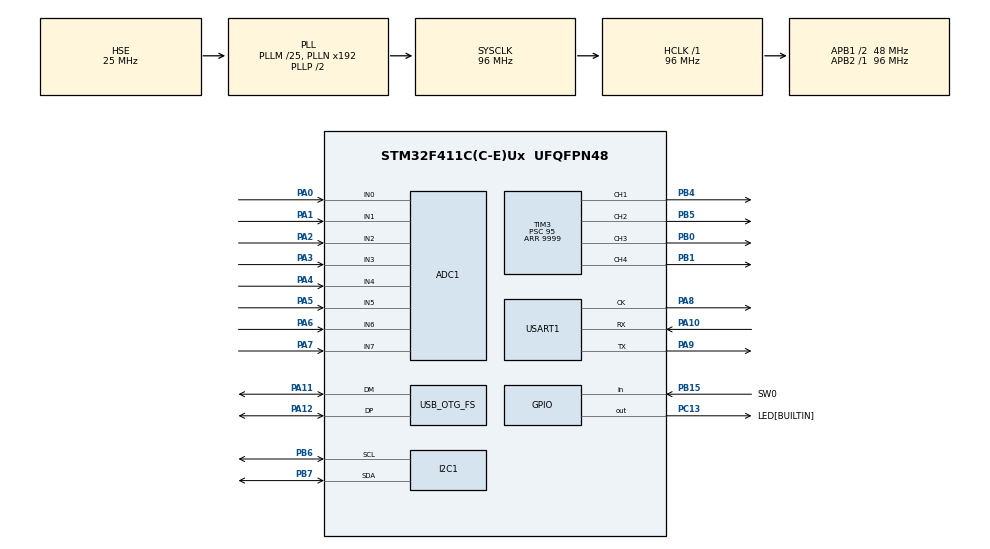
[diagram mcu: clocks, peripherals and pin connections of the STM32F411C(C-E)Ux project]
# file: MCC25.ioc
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ADC1.Channel-0\#ChannelRegularConversion=ADC_CHANNEL_0
ADC1.Channel-1\#ChannelRegularConversion=ADC_CHANNEL_1
ADC1.Channel-2\#ChannelRegularConversion=ADC_CHANNEL_2
ADC1.Channel-3\#ChannelRegularConversion=ADC_CHANNEL_3
ADC1.Channel-4\#ChannelRegularConversion=ADC_CHANNEL_4
ADC1.Channel-5\#ChannelRegularConversion=ADC_CHANNEL_5
ADC1.Channel-6\#ChannelRegularConversion=ADC_CHANNEL_6
ADC1.Channel-7\#ChannelRegularConversion=ADC_CHANNEL_7
ADC1.DMAContinuousRequests=ENABLE
ADC1.NbrOfConversion=8
ADC1.NbrOfConversionFlag=1
ADC1.Rank-0\#ChannelRegularConversion=1
ADC1.Rank-1\#ChannelRegularConversion=2
ADC1.Rank-2\#ChannelRegularConversion=3
ADC1.Rank-3\#ChannelRegularConversion=4
ADC1.Rank-4\#ChannelRegularConversion=5
ADC1.Rank-5\#ChannelRegularConversion=6
ADC1.Rank-6\#ChannelRegularConversion=7
ADC1.Rank-7\#ChannelRegularConversion=8
ADC1.SamplingTime-0\#ChannelRegularConversion=ADC_SAMPLETIME_3CYCLES
ADC1.SamplingTime-1\#ChannelRegularConversion=ADC_SAMPLETIME_3CYCLES
ADC1.SamplingTime-2\#ChannelRegularConversion=ADC_SAMPLETIME_3CYCLES
ADC1.SamplingTime-3\#ChannelRegularConversion=ADC_SAMPLETIME_3CYCLES
ADC1.SamplingTime-4\#ChannelRegularConversion=ADC_SAMPLETIME_3CYCLES
ADC1.SamplingTime-5\#ChannelRegularConversion=ADC_SAMPLETIME_3CYCLES
ADC1.SamplingTime-6\#ChannelRegularConversion=ADC_SAMPLETIME_3CYCLES
ADC1.SamplingTime-7\#ChannelRegularConversion=ADC_SAMPLETIME_3CYCLES
ADC1.ScanConvMode=ENABLE
ADC1.master=1
Dma.ADC1.0.Direction=DMA_PERIPH_TO_MEMORY
Dma.ADC1.0.FIFOMode=DMA_FIFOMODE_DISABLE
Dma.ADC1.0.Instance=DMA2_Stream0
Dma.ADC1.0.MemDataAlignment=DMA_MDATAALIGN_HALFWORD
Dma.ADC1.0.MemInc=DMA_MINC_ENABLE
Dma.ADC1.0.Mode=DMA_NORMAL
Dma.ADC1.0.PeriphDataAlignment=DMA_PDATAALIGN_HALFWORD
Dma.ADC1.0.PeriphInc=DMA_PINC_DISABLE
Dma.ADC1.0.Priority=DMA_PRIORITY_LOW
Dma.I2C1_RX.1.Direction=DMA_PERIPH_TO_MEMORY
Dma.I2C1_RX.1.FIFOMode=DMA_FIFOMODE_DISABLE
Dma.I2C1_RX.1.Instance=DMA1_Stream0
Dma.I2C1_RX.1.MemDataAlignment=DMA_MDATAALIGN_BYTE
Dma.I2C1_RX.1.MemInc=DMA_MINC_ENABLE
Dma.I2C1_RX.1.Mode=DMA_NORMAL
Dma.I2C1_RX.1.PeriphDataAlignment=DMA_PDATAALIGN_BYTE
Dma.I2C1_RX.1.PeriphInc=DMA_PINC_DISABLE
Dma.I2C1_RX.1.Priority=DMA_PRIORITY_LOW
Dma.I2C1_TX.2.Direction=DMA_MEMORY_TO_PERIPH
Dma.I2C1_TX.2.FIFOMode=DMA_FIFOMODE_DISABLE
Dma.I2C1_TX.2.Instance=DMA1_Stream6
Dma.I2C1_TX.2.MemDataAlignment=DMA_MDATAALIGN_BYTE
Dma.I2C1_TX.2.MemInc=DMA_MINC_ENABLE
Dma.I2C1_TX.2.Mode=DMA_NORMAL
Dma.I2C1_TX.2.PeriphDataAlignment=DMA_PDATAALIGN_BYTE
Dma.I2C1_TX.2.PeriphInc=DMA_PINC_DISABLE
Dma.I2C1_TX.2.Priority=DMA_PRIORITY_LOW
Dma.Request0=ADC1
Dma.Request1=I2C1_RX
Dma.Request2=I2C1_TX
I2C1.I2C_Mode=I2C_Fast
Mcu.Family=STM32F4
Mcu.Name=STM32F411C(C-E)Ux
Mcu.Package=UFQFPN48
NVIC.ADC_IRQn=true\:0\:0\:false\:false\:true\:true\:true\:true
NVIC.DMA1_Stream0_IRQn=true\:0\:0\:false\:false\:true\:false\:true\:true
NVIC.DMA1_Stream6_IRQn=true\:0\:0\:false\:false\:true\:false\:true\:true
NVIC.DMA2_Stream0_IRQn=true\:0\:0\:false\:false\:true\:false\:true\:true
NVIC.I2C1_ER_IRQn=true\:0\:0\:false\:false\:true\:true\:true\:true
NVIC.I2C1_EV_IRQn=true\:0\:0\:false\:false\:true\:true\:true\:true
NVIC.OTG_FS_IRQn=true\:0\:0\:false\:false\:true\:false\:true\:true
NVIC.PriorityGroup=NVIC_PRIORITYGROUP_4
NVIC.TIM1_BRK_TIM9_IRQn=true\:0\:0\:false\:false\:true\:true\:true\:true
NVIC.TIM1_CC_IRQn=true\:0\:0\:false\:false\:true\:true\:true\:true
NVIC.TIM1_TRG_COM_TIM11_IRQn=true\:0\:0\:false\:false\:true\:true\:true\:true
NVIC.TIM1_UP_TIM10_IRQn=true\:0\:0\:false\:false\:true\:true\:true\:true
NVIC.TIM2_IRQn=true\:0\:0\:false\:false\:true\:true\:true\:true
NVIC.TIM3_IRQn=true\:0\:0\:false\:false\:true\:true\:true\:true
NVIC.TIM4_IRQn=true\:0\:0\:false\:false\:true\:true\:true\:true
NVIC.USART1_IRQn=true\:0\:0\:false\:false\:true\:true\:true\:true
PA0-WKUP.Signal=ADCx_IN0
PA1.Signal=ADCx_IN1
PA10.Mode=Synchronous
PA10.Signal=USART1_RX
PA11.Mode=Device_Only
PA11.Signal=USB_OTG_FS_DM
PA12.Mode=Device_Only
PA12.Signal=USB_OTG_FS_DP
PA2.Signal=ADCx_IN2
PA3.Signal=ADCx_IN3
PA4.Signal=ADCx_IN4
PA5.Signal=ADCx_IN5
PA6.Signal=ADCx_IN6
PA7.Signal=ADCx_IN7
PA8.Mode=Synchronous
PA8.Signal=USART1_CK
PA9.Mode=Synchronous
PA9.Signal=USART1_TX
PB0.Signal=S_TIM3_CH3
PB1.Signal=S_TIM3_CH4
PB15.GPIO_Label=SW0
PB15.Signal=GPIO_Input
PB4.Signal=S_TIM3_CH1
PB5.Signal=S_TIM3_CH2
PB6.Mode=I2C
PB6.Signal=I2C1_SCL
PB7.Mode=I2C
PB7.Signal=I2C1_SDA
PC13-ANTI_TAMP.GPIO_Label=LED[BUILTIN]
PC13-ANTI_TAMP.Signal=GPIO_Output
PC14-OSC32_IN.Mode=LSE-External-Oscillator
PC14-OSC32_IN.Signal=RCC_OSC32_IN
PC15-OSC32_OUT.Mode=LSE-External-Oscillator
PC15-OSC32_OUT.Signal=RCC_OSC32_OUT
PH0\ -\ OSC_IN.Mode=HSE-External-Oscillator
PH0\ -\ OSC_IN.Signal=RCC_OSC_IN
PH1\ -\ OSC_OUT.Mode=HSE-External-Oscillator
PH1\ -\ OSC_OUT.Signal=RCC_OSC_OUT
ProjectManager.HeapSize=0x200
ProjectManager.StackSize=0x400
ProjectManager.TargetToolchain=STM32CubeIDE
RCC.48MHZClocksFreq_Value=48000000
RCC.AHBFreq_Value=96000000
RCC.APB1CLKDivider=RCC_HCLK_DIV2
RCC.APB1Freq_Value=48000000
RCC.APB1TimFreq_Value=96000000
RCC.APB2Freq_Value=96000000
RCC.APB2TimFreq_Value=96000000
RCC.CortexFreq_Value=96000000
RCC.HCLKFreq_Value=96000000
RCC.HSE_VALUE=25000000
RCC.HSI_VALUE=16000000
RCC.PLLM=25
RCC.SYSCLKFreq_VALUE=96000000
RCC.SYSCLKSource=RCC_SYSCLKSOURCE_PLLCLK
RCC.VCOOutputFreq_Value=192000000
SH.ADCx_IN0.0=ADC1_IN0,IN0
SH.ADCx_IN1.0=ADC1_IN1,IN1
SH.ADCx_IN2.0=ADC1_IN2,IN2
SH.ADCx_IN3.0=ADC1_IN3,IN3
SH.ADCx_IN4.0=ADC1_IN4,IN4
SH.ADCx_IN5.0=ADC1_IN5,IN5
SH.ADCx_IN6.0=ADC1_IN6,IN6
SH.ADCx_IN7.0=ADC1_IN7,IN7
SH.S_TIM3_CH1.0=TIM3_CH1,PWM Generation1 CH1
SH.S_TIM3_CH2.0=TIM3_CH2,PWM Generation2 CH2
SH.S_TIM3_CH3.0=TIM3_CH3,PWM Generation3 CH3
SH.S_TIM3_CH4.0=TIM3_CH4,PWM Generation4 CH4
TIM1.Period=249
TIM1.Prescaler=95
TIM2.Period=19999
TIM2.Prescaler=95
TIM3.Channel-PWM\ Generation1\ CH1=TIM_CHANNEL_1
TIM3.Channel-PWM\ Generation2\ CH2=TIM_CHANNEL_2
TIM3.Channel-PWM\ Generation3\ CH3=TIM_CHANNEL_3
TIM3.Channel-PWM\ Generation4\ CH4=TIM_CHANNEL_4
TIM3.Period=9999
TIM3.Prescaler=95
TIM4.Period=49999
TIM4.Prescaler=191
USART1.VirtualMode=VM_SYNC
USB_DEVICE.APP_RX_DATA_SIZE=512
USB_DEVICE.APP_TX_DATA_SIZE=512
USB_DEVICE.CLASS_NAME_FS=CDC
USB_DEVICE.VirtualMode=Cdc
USB_DEVICE.VirtualModeFS=Cdc_FS
USB_OTG_FS.VirtualMode=Device_Only
VP_TIM1_VS_ClockSourceINT.Mode=Internal
VP_TIM1_VS_ClockSourceITR.Mode=TriggerSource_ITR0
VP_TIM2_VS_ClockSourceINT.Mode=Internal
VP_TIM2_VS_ClockSourceITR.Mode=TriggerSource_ITR0
VP_TIM3_VS_ClockSourceINT.Mode=Internal
VP_TIM3_VS_ClockSourceITR.Mode=TriggerSource_ITR0
VP_TIM4_VS_ClockSourceINT.Mode=Internal
VP_USB_DEVICE_VS_USB_DEVICE_CDC_FS.Mode=CDC_FS
board=custom

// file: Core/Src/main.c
/* USER CODE BEGIN Header */
/**
  ******************************************************************************
  * @file           : main.c
  * @author  		: Gonzalo M. Buffa
  * @brief          : Main program body
  ******************************************************************************
  * @attention
  *
  * Copyright (c) 2025 STMicroelectronics.
  * All rights reserved.
  *
  * This software is licensed under terms that can be found in the LICENSE file
  * in the root directory of this software component.
  * If no LICENSE file comes with this software, it is provided AS-IS.
  *
  ******************************************************************************
  */
/* USER CODE END Header */
#include "main.h"
#include "usb_device.h"

/* USER CODE BEGIN Includes */
#include "usbd_cdc_if.h"

#include "util.h"
#include "img.h"
#include "fonts.h"

#include "ssd1306.h"
#include "mpu6050.h"
#include "esp01.h"

#include <stdio.h>
#include <unerPrtcl.h>
/* USER CODE END Includes */

/* USER CODE BEGIN PD */
//time
#define	TO10MS				40
#define SSD1306_MAXVER		64
#define	SSD1306_MAXHOR		128
#define	SSD1306_MAXADC		30
#define	SSD1306_MINADC		60
#define SSD1306_FSTCOL		0
#define	SSD1306_SNDCOL		40
#define	SSD1306_TRDCOL		85

#define SSD1306				0
#define MPU6050				1
#define I2CSIZE				16

#define ON					1
#define OFF					0

#define TIM3CP				9999

//banderas
#define ALLFLAGS          	myFlags.bytes
#define IS10MS				myFlags.bits.bit0
#define IS20MS				myFlags.bits.bit1
#define IS100MS				myFlags.bits.bit2

#define HEARTBEAT			myFlags.bits.bit3

/* USER CODE END PD */

ADC_HandleTypeDef hadc1;
DMA_HandleTypeDef hdma_adc1;

I2C_HandleTypeDef hi2c1;
DMA_HandleTypeDef hdma_i2c1_rx;
DMA_HandleTypeDef hdma_i2c1_tx;

TIM_HandleTypeDef htim1;
TIM_HandleTypeDef htim2;
TIM_HandleTypeDef htim3;
TIM_HandleTypeDef htim4;

USART_HandleTypeDef husart1;

/* USER CODE BEGIN PV */
uint32_t heartBeatMask[] = {0x55555555, 0x1, 0x2010080, 0x5F, 0x5, 0x28140A00, 0x15F, 0x15, 0x2A150A08, 0x55F};

const char firmware[] = "EX100923v01\n";

//Tiempos
uint8_t time10ms;
uint8_t tmo100ms = 10;
uint8_t tmo20ms = 2;
//ADC
uint16_t adcData[8], adcDataTx[8]; //ADC

//Comunicación
_sTx USBTx, USBRx;
volatile uint8_t buffUSBTx[RXBUFSIZE];
volatile uint8_t buffUSBRx[TXBUFSIZE];
uint8_t nBytesTx = 0;
_uWord myWord;
//Control
_uFlag myFlags;
//Variables pantalla
volatile uint8_t ssd1306_TxCplt = 0;
volatile uint8_t mpu6050_RxCplt = 0;
//mpu6050
int16_t ax=0, ay=0, az=0;
int16_t gx=0, gy=0, gz=0;

//i2c
uint8_t Pila[I2CSIZE] = {};
uint8_t i2cIndex = 0;

typedef enum{
	IDLE = 0,
	DATA_DISPLAY = 1,
	UPD_DISPLAY = 2,
	ONMPU = 3
}_eDMA;

_eDMA myDMA;

uint8_t tmo100 = 5;
uint8_t IS100 = 0;

uint32_t rPwm, lPwm;

//Wifi
_sESP01Handle esp01Handler;

/* USER CODE END PV */

void SystemClock_Config(void);
static void MX_GPIO_Init(void);
static void MX_DMA_Init(void);
static void MX_ADC1_Init(void);
static void MX_I2C1_Init(void);
static void MX_TIM1_Init(void);
static void MX_TIM2_Init(void);
static void MX_TIM3_Init(void);
static void MX_TIM4_Init(void);
static void MX_USART1_Init(void);
/* USER CODE BEGIN PFP */

//USB-Serial Communication
void USBTask();
void USBRxData(uint8_t *buf, uint32_t len);
void decodeCommand(_sTx *dataRx, _sTx *dataTx);
//Time functions
void do10ms();
void do100ms();

//Others
void heartBeatTask();

//Display
//void displayTask();
void ssd1306Data();
void displayMemWrite(uint8_t address, uint8_t *data, uint8_t size, uint8_t type);
void displayMemWriteDMA(uint8_t address, uint8_t *data, uint8_t size, uint8_t type);
//MPU6050
void mpuMemWrite(uint8_t address, uint8_t *data, uint8_t size, uint8_t type);
void mpuMemReadDMA(uint8_t address, uint8_t *data, uint8_t size, uint8_t type);
//i2C
void i2cTask();

/* USER CODE END PFP */

/* USER CODE BEGIN 0 */

void HAL_ADC_ConvCpltCallback(ADC_HandleTypeDef *hadc) {
	//Revisar tiempos de ejecución de esta sección con respecto a la mpu
	for (int i = 0; i < 8; i++) {
		adcDataTx[i] = adcData[i];
	}
}

void HAL_I2C_MemTxCpltCallback(I2C_HandleTypeDef *hi2c){ //Pantalla
	ssd1306_TxCplt = 1;
}

void HAL_I2C_MemRxCpltCallback(I2C_HandleTypeDef *hi2c){ //MPU
	mpu6050_RxCplt = 1;
}

void HAL_TIM_PeriodElapsedCallback(TIM_HandleTypeDef *htim) {
	if (htim->Instance == TIM1) { //250us
		time10ms++;
		if (time10ms == TO10MS) {
			time10ms = 0;
			IS10MS = TRUE;
		}
		HAL_ADC_Start_DMA(&hadc1, (uint32_t*) adcData, 8);
	}

	if (htim->Instance == TIM2) { //20ms
		Pila[i2cIndex] = MPU6050;
		i2cIndex++;
		i2cIndex&=(I2CSIZE-1);
		tmo100--;
		if(!tmo100){
			tmo100=5;
			Pila[i2cIndex] = SSD1306;
			i2cIndex++;
			i2cIndex&=(I2CSIZE-1);
		}
	}

	if (htim->Instance == TIM4) { //100ms

	}
}

void USBRxData(uint8_t *buf, uint32_t len) { //Recibimos datos -> Enviamos datos

	for (uint8_t nBytesRx = 0; nBytesRx < len; nBytesRx++) { //Guardamos los datos en el buffer de recepcion
		USBRx.buff[USBRx.indexW++] = buf[nBytesRx];
		USBRx.indexW &= USBRx.mask;
	}

}

void USBTask() {

	if(USBRx.indexR != USBRx.indexW){
		uint8_t sendBuffer[TXBUFSIZE];

		if (unerPrtcl_DecodeHeader(&USBRx))
			decodeCommand(&USBRx, &USBTx);

		for (uint8_t i = 0; i < USBTx.bytes; i++) { //Paso limpio, error ultima posición
			sendBuffer[i] = USBTx.buff[USBTx.indexData++];
			USBTx.indexData &= USBTx.mask;
		}

		CDC_Transmit_FS(sendBuffer, USBTx.bytes);
	}

}

void decodeCommand(_sTx *dataRx, _sTx *dataTx) {

	switch (dataRx->buff[dataRx->indexData]) {
	case ALIVE:
		unerPrtcl_PutHeaderOnTx(dataTx, ALIVE, 2);
		unerPrtcl_PutByteOnTx(dataTx, ACK);
		unerPrtcl_PutByteOnTx(dataTx, dataTx->chk);
		break;
	case FIRMWARE:
		unerPrtcl_PutHeaderOnTx(dataTx, FIRMWARE, 13);
		unerPrtcl_PutStrOntx(dataTx, firmware);
		unerPrtcl_PutByteOnTx(dataTx, dataTx->chk);
		break;
	case GETMPU:
		unerPrtcl_PutHeaderOnTx(dataTx, GETMPU, 13);
		myWord.i16[0] = ax;
		unerPrtcl_PutByteOnTx(dataTx, myWord.ui8[0]);
		unerPrtcl_PutByteOnTx(dataTx, myWord.ui8[1]);
		myWord.i16[0] = ay;
		unerPrtcl_PutByteOnTx(dataTx, myWord.ui8[0]);
		unerPrtcl_PutByteOnTx(dataTx, myWord.ui8[1]);
		myWord.i16[0] = az;
		unerPrtcl_PutByteOnTx(dataTx, myWord.ui8[0]);
		unerPrtcl_PutByteOnTx(dataTx, myWord.ui8[1]);
		myWord.i16[0] = gx;
		unerPrtcl_PutByteOnTx(dataTx, myWord.ui8[0]);
		unerPrtcl_PutByteOnTx(dataTx, myWord.ui8[1]);
		myWord.i16[0] = gy;
		unerPrtcl_PutByteOnTx(dataTx, myWord.ui8[0]);
		unerPrtcl_PutByteOnTx(dataTx, myWord.ui8[1]);
		myWord.i16[0] = gz;
		unerPrtcl_PutByteOnTx(dataTx, myWord.ui8[0]);
		unerPrtcl_PutByteOnTx(dataTx, myWord.ui8[1]);
		unerPrtcl_PutByteOnTx(dataTx, dataTx->chk);
		break;
	case GETADC:
		unerPrtcl_PutHeaderOnTx(dataTx, GETADC, 17);
		myWord.ui16[0] = adcDataTx[0];
		unerPrtcl_PutByteOnTx(dataTx, myWord.ui8[0]);
		unerPrtcl_PutByteOnTx(dataTx, myWord.ui8[1]);
		myWord.ui16[0] = adcDataTx[1];
		unerPrtcl_PutByteOnTx(dataTx, myWord.ui8[0]);
		unerPrtcl_PutByteOnTx(dataTx, myWord.ui8[1]);
		myWord.ui16[0] = adcDataTx[2];
		unerPrtcl_PutByteOnTx(dataTx, myWord.ui8[0]);
		unerPrtcl_PutByteOnTx(dataTx, myWord.ui8[1]);
		myWord.ui16[0] = adcDataTx[3];
		unerPrtcl_PutByteOnTx(dataTx, myWord.ui8[0]);
		unerPrtcl_PutByteOnTx(dataTx, myWord.ui8[1]);
		myWord.ui16[0] = adcDataTx[4];
		unerPrtcl_PutByteOnTx(dataTx, myWord.ui8[0]);
		unerPrtcl_PutByteOnTx(dataTx, myWord.ui8[1]);
		myWord.ui16[0] = adcDataTx[5];
		unerPrtcl_PutByteOnTx(dataTx, myWord.ui8[0]);
		unerPrtcl_PutByteOnTx(dataTx, myWord.ui8[1]);
		myWord.ui16[0] = adcDataTx[6];
		unerPrtcl_PutByteOnTx(dataTx, myWord.ui8[0]);
		unerPrtcl_PutByteOnTx(dataTx, myWord.ui8[1]);
		myWord.ui16[0] = adcDataTx[7];
		unerPrtcl_PutByteOnTx(dataTx, myWord.ui8[0]);
		unerPrtcl_PutByteOnTx(dataTx, myWord.ui8[1]);
		unerPrtcl_PutByteOnTx(dataTx, dataTx->chk);
		break;
	case SETPWM:
        unerPrtcl_PutHeaderOnTx(dataTx, SETPWM, 2);
        unerPrtcl_PutByteOnTx(dataTx, ACK );
        unerPrtcl_PutByteOnTx(dataTx, dataTx->chk);
        myWord.ui8[0]=unerPrtcl_GetByteFromRx(dataRx,1,0);
        myWord.ui8[1]=unerPrtcl_GetByteFromRx(dataRx,1,0);
        myWord.ui8[2]=unerPrtcl_GetByteFromRx(dataRx,1,0);
        myWord.ui8[3]=unerPrtcl_GetByteFromRx(dataRx,1,0);
        lPwm = myWord.i32;
        myWord.ui8[0]=unerPrtcl_GetByteFromRx(dataRx,1,0);
        myWord.ui8[1]=unerPrtcl_GetByteFromRx(dataRx,1,0);
        myWord.ui8[2]=unerPrtcl_GetByteFromRx(dataRx,1,0);
        myWord.ui8[3]=unerPrtcl_GetByteFromRx(dataRx,1,0);
        rPwm = myWord.i32;
		break;
	default:
		unerPrtcl_PutHeaderOnTx(dataTx, (_eCmd) dataRx->buff[dataRx->indexData], 2);
		unerPrtcl_PutByteOnTx(dataTx, UNKNOWN);
		unerPrtcl_PutByteOnTx(dataTx, dataTx->chk);
		break;
	}
}

void do10ms() {
	if (IS10MS) {
		IS10MS = FALSE;
		tmo100ms--;
		tmo20ms--;
		ESP01_Timeout10ms();
		if (!tmo20ms) {
			tmo20ms = 2;
			IS20MS = TRUE;
		}
		if (!tmo100ms) {
			tmo100ms = 10;
			IS100MS = TRUE;
			heartBeatTask();
		}
	}
}

void do100ms(){
	if(IS100MS){
		IS100MS=FALSE;
	}
}

void heartBeatTask() {
	static uint8_t times = 0;

	if (~heartBeatMask[0] & (1 << times)) //Add index
		HAL_GPIO_TogglePin(LED_GPIO_Port, LED_Pin); // Blink LED

	times++;
	times &= 31;
}

void displayMemWrite(uint8_t address, uint8_t *data, uint8_t size, uint8_t type){
	HAL_I2C_Mem_Write(&hi2c1, address , type, 1, data, size, HAL_MAX_DELAY);
}

void displayMemWriteDMA(uint8_t address, uint8_t *data, uint8_t size, uint8_t type){
	HAL_I2C_Mem_Write_DMA(&hi2c1, address , type, 1, data, size);
}

void mpuMemWrite(uint8_t address, uint8_t *data, uint8_t size, uint8_t type){
	HAL_I2C_Mem_Write(&hi2c1, address , type, 1, data, size, HAL_MAX_DELAY);
}

void mpuMemReadDMA(uint8_t address, uint8_t *data, uint8_t size, uint8_t type){
	HAL_I2C_Mem_Read_DMA(&hi2c1, address , type, 1, data, size);
}

void ssd1306Data() {
	char data[8];
	uint8_t y = 0, x = 2;

	ssd1306_Fill(White);

	ssd1306_FillRectangle(30, 0, 32, 64, Black);

	ssd1306_FillRectangle(0, 20, 128, 22, Black);

	ssd1306_FillRectangle(80, 0, 82, 64, Black);

	x = SSD1306_SNDCOL;
	y = 0;
	ssd1306_SetCursor(x, y);
	snprintf(data, sizeof(data), "ACC");
	ssd1306_WriteString(data, Font_11x18, Black);
	x = SSD1306_TRDCOL;
	ssd1306_SetCursor(x, y);
	snprintf(data, sizeof(data), "GYR");
	ssd1306_WriteString(data, Font_11x18, Black);

	x = SSD1306_SNDCOL;
	y += 25;
	ssd1306_SetCursor(x, y);
	snprintf(data, sizeof(data), "%d", ax);
	ssd1306_WriteString(data, Font_7x10, Black);
	x = SSD1306_TRDCOL;
	ssd1306_SetCursor(x, y);
	snprintf(data, sizeof(data), "%d", gx);
	ssd1306_WriteString(data, Font_7x10, Black);

	x = SSD1306_SNDCOL;
	y += 12;
	ssd1306_SetCursor(x, y);
	snprintf(data, sizeof(data), "%d", ay);
	ssd1306_WriteString(data, Font_7x10, Black);
	x = SSD1306_TRDCOL;
	ssd1306_SetCursor(x, y);
	snprintf(data, sizeof(data), "%d", gy);
	ssd1306_WriteString(data, Font_7x10, Black);

	x = SSD1306_SNDCOL;
	y += 12;
	ssd1306_SetCursor(x, y);
	snprintf(data, sizeof(data), "%d", az);
	ssd1306_WriteString(data, Font_7x10, Black);
	x = SSD1306_TRDCOL;
	ssd1306_SetCursor(x, y);
	snprintf(data, sizeof(data), "%d", gz);
	ssd1306_WriteString(data, Font_7x10, Black);

	ssd1306_Line(3, 60, 3,
			(SSD1306_MINADC - (adcDataTx[0] / 4090) * SSD1306_MAXADC), Black);
	ssd1306_Line(6, 60, 6,
			(SSD1306_MINADC - (adcDataTx[1] / 4090) * SSD1306_MAXADC), Black);
	ssd1306_Line(9, 60, 9,
			(SSD1306_MINADC - (adcDataTx[2] / 4090) * SSD1306_MAXADC), Black);
	ssd1306_Line(12, 60, 12,
			(SSD1306_MINADC - (adcDataTx[3] / 4090) * SSD1306_MAXADC), Black);
	ssd1306_Line(15, 60, 15,
			(SSD1306_MINADC - (adcDataTx[4] / 4090) * SSD1306_MAXADC), Black);
	ssd1306_Line(18, 60, 18,
			(SSD1306_MINADC - (adcDataTx[5] / 4090) * SSD1306_MAXADC), Black);
	ssd1306_Line(21, 60, 21,
			(SSD1306_MINADC - (adcDataTx[6] / 4090) * SSD1306_MAXADC), Black);
	ssd1306_Line(24, 60, 24,
			(SSD1306_MINADC - (adcDataTx[7] / 4090) * SSD1306_MAXADC), Black);
}

void i2cTask() {
	static uint8_t i = IDLE;
	static uint8_t j = 0;

	switch (i) {
	case IDLE:
		if (j == i2cIndex) { //Sale por que no hay nuevos elementos
			break;
		}

		if (Pila[j]) { //mpu6050
			i = ONMPU;
			j++;
			j &= (I2CSIZE - 1);
			break;
		}
		if (!Pila[j]) {
			i = DATA_DISPLAY;
			j++;
			j &= (I2CSIZE - 1);
		}
		break;
	case DATA_DISPLAY:
		ssd1306Data();
		i = UPD_DISPLAY;
		break;
	case UPD_DISPLAY:
		if (HAL_I2C_GetState(&hi2c1) == HAL_I2C_STATE_READY) {
			if (ssd1306_UpdateScreenDMA()) {

				ssd1306_TxCplt = FALSE;
				i = IDLE;
			}
		}
		break;
	case ONMPU:
		if (HAL_I2C_GetState(&hi2c1) == HAL_I2C_STATE_READY) {
			if (mpu6050_Read()) {

				mpu6050_GetData(&ax, &ay, &az, &gx, &gy, &gz);
				mpu6050_RxCplt = FALSE;
				i = IDLE;
			}
		}
		break;
	default:
		i = IDLE;
		break;
	}
}

void PWM_Control(){

	  // Calcula CCRx = period * percent / 100
	  uint32_t lPulse = TIM3CP * lPwm / 100UL;
	  uint32_t rPulse = TIM3CP * rPwm / 100UL;

	__HAL_TIM_SET_COMPARE(&htim3,TIM_CHANNEL_1,lPulse);
	__HAL_TIM_SET_COMPARE(&htim3,TIM_CHANNEL_2,lPulse);

	__HAL_TIM_SET_COMPARE(&htim3,TIM_CHANNEL_3,rPulse);
	__HAL_TIM_SET_COMPARE(&htim3,TIM_CHANNEL_4,rPulse);

}

void CHPD_Control(uint8_t state)
{
    /* Assuming CH_PD is on GPIOB Pin 0 */
    HAL_GPIO_WritePin(GPIOB, GPIO_PIN_0, state ? GPIO_PIN_SET : GPIO_PIN_RESET);
}

/**
 * @brief  Send one byte out over UART to ESP-01.
 * @param  byte  The data byte to transmit.
 */
void USART_SendByte(uint8_t byte)
{
    /* Assuming huart2 is configured for the ESP01 */
    HAL_USART_Transmit(&husart1, &byte, 1, HAL_MAX_DELAY);
}

/**
 * @brief  Forward one received byte into the ESP01 driver’s rx buffer.
 * @param  byte  The byte received from UART ISR.
 */
void FeedRxBuf(uint8_t byte)
{
    ESP01_WriteRX(byte);
}

/* USER CODE END 0 */

int main(void)
{

  /* MCU Configuration--------------------------------------------------------*/

  /* Reset of all peripherals, Initializes the Flash interface and the Systick. */
  HAL_Init();

  /* Configure the system clock */
  SystemClock_Config();

  /* Initialize all configured peripherals */
  MX_GPIO_Init();
  MX_DMA_Init();
  MX_ADC1_Init();
  MX_I2C1_Init();
  MX_TIM1_Init();
  MX_USB_DEVICE_Init();
  MX_TIM2_Init();
  MX_TIM3_Init();
  MX_TIM4_Init();
  MX_USART1_Init();
  /* USER CODE BEGIN 2 */

	CDC_Attach_Rx(USBRxData); //Attach a la función que tenia en el .C

	HAL_TIM_Base_Start_IT(&htim1);
	HAL_TIM_Base_Start_IT(&htim2);
	HAL_TIM_Base_Start_IT(&htim3);
	HAL_TIM_Base_Start_IT(&htim4);

	HAL_TIM_PWM_Start(&htim3, TIM_CHANNEL_1);
	HAL_TIM_PWM_Start(&htim3, TIM_CHANNEL_2);
	HAL_TIM_PWM_Start(&htim3, TIM_CHANNEL_3);
	HAL_TIM_PWM_Start(&htim3, TIM_CHANNEL_4);

	HAL_GPIO_WritePin(LED_GPIO_Port, LED_Pin, GPIO_PIN_SET); //Apagamos el LED

	//Display
	ssd1306_ADC_ConfCpltCallback(&ssd1306_TxCplt);
	ssd1306_Attach_MemWrite(displayMemWrite);
	ssd1306_Attach_MemWriteDMA(displayMemWriteDMA);
	ssd1306_Init();

	//mpu6050

	mpu6050_ADC_ConfCpltCallback(&mpu6050_RxCplt);
	mpu6050_Attach_MemWrite(mpuMemWrite);
	mpu6050_Attach_MemReadDMA(mpuMemReadDMA);
	mpu6050_Init();

	//esp01

//	esp01Handler.DoCHPD = CHPD_Control(ON);
//	esp01Handler.WriteByteToBufRX = USART_SendByte();
//	esp01Handler.WriteUSARTByte = FeedRxBuf(byte);

	//ESP01_Init(&esp01Handler);

	//ESP01_SetWIFI("FCAL","fcalconcordia.06-2019");
	//ESP01_StartUDP("192.168.0.10", 30010, 30001);

	//ESP01_SetWIFI("ARPANET","1969-Apolo_11-2022");
	//ESP01_StartUDP("192.168.0.10", 30010, 30001);

	//Inicializacion de protocolo
	unerPrtcl_Init(&USBRx, &USBTx, buffUSBRx, buffUSBTx);

	//Variables
	ALLFLAGS = RESET;

  /* USER CODE END 2 */

  /* Infinite loop */
  while (1)
  {

    /* USER CODE BEGIN 3 */
		do10ms();
		USBTask();
		PWM_Control();
		i2cTask();
	}
  /* USER CODE END 3 */
}

void SystemClock_Config(void)
{
  RCC_OscInitTypeDef RCC_OscInitStruct = {0};
  RCC_ClkInitTypeDef RCC_ClkInitStruct = {0};

  /** Configure the main internal regulator output voltage
  */
  __HAL_RCC_PWR_CLK_ENABLE();
  __HAL_PWR_VOLTAGESCALING_CONFIG(PWR_REGULATOR_VOLTAGE_SCALE1);

  /** Initializes the RCC Oscillators according to the specified parameters
  * in the RCC_OscInitTypeDef structure.
  */
  RCC_OscInitStruct.OscillatorType = RCC_OSCILLATORTYPE_HSE;
  RCC_OscInitStruct.HSEState = RCC_HSE_ON;
  RCC_OscInitStruct.PLL.PLLState = RCC_PLL_ON;
  RCC_OscInitStruct.PLL.PLLSource = RCC_PLLSOURCE_HSE;
  RCC_OscInitStruct.PLL.PLLM = 25;
  RCC_OscInitStruct.PLL.PLLN = 192;
  RCC_OscInitStruct.PLL.PLLP = RCC_PLLP_DIV2;
  RCC_OscInitStruct.PLL.PLLQ = 4;
  if (HAL_RCC_OscConfig(&RCC_OscInitStruct) != HAL_OK)
  {
    Error_Handler();
  }

  /** Initializes the CPU, AHB and APB buses clocks
  */
  RCC_ClkInitStruct.ClockType = RCC_CLOCKTYPE_HCLK|RCC_CLOCKTYPE_SYSCLK
                              |RCC_CLOCKTYPE_PCLK1|RCC_CLOCKTYPE_PCLK2;
  RCC_ClkInitStruct.SYSCLKSource = RCC_SYSCLKSOURCE_PLLCLK;
  RCC_ClkInitStruct.AHBCLKDivider = RCC_SYSCLK_DIV1;
  RCC_ClkInitStruct.APB1CLKDivider = RCC_HCLK_DIV2;
  RCC_ClkInitStruct.APB2CLKDivider = RCC_HCLK_DIV1;

  if (HAL_RCC_ClockConfig(&RCC_ClkInitStruct, FLASH_LATENCY_3) != HAL_OK)
  {
    Error_Handler();
  }
}

static void MX_ADC1_Init(void)
{

  ADC_ChannelConfTypeDef sConfig = {0};

  /** Configure the global features of the ADC (Clock, Resolution, Data Alignment and number of conversion)
  */
  hadc1.Instance = ADC1;
  hadc1.Init.ClockPrescaler = ADC_CLOCK_SYNC_PCLK_DIV4;
  hadc1.Init.Resolution = ADC_RESOLUTION_12B;
  hadc1.Init.ScanConvMode = ENABLE;
  hadc1.Init.ContinuousConvMode = DISABLE;
  hadc1.Init.DiscontinuousConvMode = DISABLE;
  hadc1.Init.ExternalTrigConvEdge = ADC_EXTERNALTRIGCONVEDGE_NONE;
  hadc1.Init.ExternalTrigConv = ADC_SOFTWARE_START;
  hadc1.Init.DataAlign = ADC_DATAALIGN_RIGHT;
  hadc1.Init.NbrOfConversion = 8;
  hadc1.Init.DMAContinuousRequests = ENABLE;
  hadc1.Init.EOCSelection = ADC_EOC_SINGLE_CONV;
  if (HAL_ADC_Init(&hadc1) != HAL_OK)
  {
    Error_Handler();
  }

  /** Configure for the selected ADC regular channel its corresponding rank in the sequencer and its sample time.
  */
  sConfig.Channel = ADC_CHANNEL_0;
  sConfig.Rank = 1;
  sConfig.SamplingTime = ADC_SAMPLETIME_3CYCLES;
  if (HAL_ADC_ConfigChannel(&hadc1, &sConfig) != HAL_OK)
  {
    Error_Handler();
  }

  /** Configure for the selected ADC regular channel its corresponding rank in the sequencer and its sample time.
  */
  sConfig.Channel = ADC_CHANNEL_1;
  sConfig.Rank = 2;
  if (HAL_ADC_ConfigChannel(&hadc1, &sConfig) != HAL_OK)
  {
    Error_Handler();
  }

  /** Configure for the selected ADC regular channel its corresponding rank in the sequencer and its sample time.
  */
  sConfig.Channel = ADC_CHANNEL_2;
  sConfig.Rank = 3;
  if (HAL_ADC_ConfigChannel(&hadc1, &sConfig) != HAL_OK)
  {
    Error_Handler();
  }

  /** Configure for the selected ADC regular channel its corresponding rank in the sequencer and its sample time.
  */
  sConfig.Channel = ADC_CHANNEL_3;
  sConfig.Rank = 4;
  if (HAL_ADC_ConfigChannel(&hadc1, &sConfig) != HAL_OK)
  {
    Error_Handler();
  }

  /** Configure for the selected ADC regular channel its corresponding rank in the sequencer and its sample time.
  */
  sConfig.Channel = ADC_CHANNEL_4;
  sConfig.Rank = 5;
  if (HAL_ADC_ConfigChannel(&hadc1, &sConfig) != HAL_OK)
  {
    Error_Handler();
  }

  /** Configure for the selected ADC regular channel its corresponding rank in the sequencer and its sample time.
  */
  sConfig.Channel = ADC_CHANNEL_5;
  sConfig.Rank = 6;
  if (HAL_ADC_ConfigChannel(&hadc1, &sConfig) != HAL_OK)
  {
    Error_Handler();
  }

  /** Configure for the selected ADC regular channel its corresponding rank in the sequencer and its sample time.
  */
  sConfig.Channel = ADC_CHANNEL_6;
  sConfig.Rank = 7;
  if (HAL_ADC_ConfigChannel(&hadc1, &sConfig) != HAL_OK)
  {
    Error_Handler();
  }

  /** Configure for the selected ADC regular channel its corresponding rank in the sequencer and its sample time.
  */
  sConfig.Channel = ADC_CHANNEL_7;
  sConfig.Rank = 8;
  if (HAL_ADC_ConfigChannel(&hadc1, &sConfig) != HAL_OK)
  {
    Error_Handler();
  }

}

static void MX_I2C1_Init(void)
{

  hi2c1.Instance = I2C1;
  hi2c1.Init.ClockSpeed = 400000;
  hi2c1.Init.DutyCycle = I2C_DUTYCYCLE_2;
  hi2c1.Init.OwnAddress1 = 0;
  hi2c1.Init.AddressingMode = I2C_ADDRESSINGMODE_7BIT;
  hi2c1.Init.DualAddressMode = I2C_DUALADDRESS_DISABLE;
  hi2c1.Init.OwnAddress2 = 0;
  hi2c1.Init.GeneralCallMode = I2C_GENERALCALL_DISABLE;
  hi2c1.Init.NoStretchMode = I2C_NOSTRETCH_DISABLE;
  if (HAL_I2C_Init(&hi2c1) != HAL_OK)
  {
    Error_Handler();
  }

}

static void MX_TIM1_Init(void)
{

  TIM_ClockConfigTypeDef sClockSourceConfig = {0};
  TIM_SlaveConfigTypeDef sSlaveConfig = {0};
  TIM_MasterConfigTypeDef sMasterConfig = {0};

  htim1.Instance = TIM1;
  htim1.Init.Prescaler = 95;
  htim1.Init.CounterMode = TIM_COUNTERMODE_UP;
  htim1.Init.Period = 249;
  htim1.Init.ClockDivision = TIM_CLOCKDIVISION_DIV1;
  htim1.Init.RepetitionCounter = 0;
  htim1.Init.AutoReloadPreload = TIM_AUTORELOAD_PRELOAD_DISABLE;
  if (HAL_TIM_Base_Init(&htim1) != HAL_OK)
  {
    Error_Handler();
  }
  sClockSourceConfig.ClockSource = TIM_CLOCKSOURCE_INTERNAL;
  if (HAL_TIM_ConfigClockSource(&htim1, &sClockSourceConfig) != HAL_OK)
  {
    Error_Handler();
  }
  sSlaveConfig.SlaveMode = TIM_SLAVEMODE_DISABLE;
  sSlaveConfig.InputTrigger = TIM_TS_ITR0;
  if (HAL_TIM_SlaveConfigSynchro(&htim1, &sSlaveConfig) != HAL_OK)
  {
    Error_Handler();
  }
  sMasterConfig.MasterOutputTrigger = TIM_TRGO_RESET;
  sMasterConfig.MasterSlaveMode = TIM_MASTERSLAVEMODE_DISABLE;
  if (HAL_TIMEx_MasterConfigSynchronization(&htim1, &sMasterConfig) != HAL_OK)
  {
    Error_Handler();
  }

}

static void MX_TIM2_Init(void)
{

  TIM_ClockConfigTypeDef sClockSourceConfig = {0};
  TIM_SlaveConfigTypeDef sSlaveConfig = {0};
  TIM_MasterConfigTypeDef sMasterConfig = {0};

  htim2.Instance = TIM2;
  htim2.Init.Prescaler = 95;
  htim2.Init.CounterMode = TIM_COUNTERMODE_UP;
  htim2.Init.Period = 19999;
  htim2.Init.ClockDivision = TIM_CLOCKDIVISION_DIV1;
  htim2.Init.AutoReloadPreload = TIM_AUTORELOAD_PRELOAD_DISABLE;
  if (HAL_TIM_Base_Init(&htim2) != HAL_OK)
  {
    Error_Handler();
  }
  sClockSourceConfig.ClockSource = TIM_CLOCKSOURCE_INTERNAL;
  if (HAL_TIM_ConfigClockSource(&htim2, &sClockSourceConfig) != HAL_OK)
  {
    Error_Handler();
  }
  sSlaveConfig.SlaveMode = TIM_SLAVEMODE_DISABLE;
  sSlaveConfig.InputTrigger = TIM_TS_ITR0;
  if (HAL_TIM_SlaveConfigSynchro(&htim2, &sSlaveConfig) != HAL_OK)
  {
    Error_Handler();
  }
  sMasterConfig.MasterOutputTrigger = TIM_TRGO_RESET;
  sMasterConfig.MasterSlaveMode = TIM_MASTERSLAVEMODE_DISABLE;
  if (HAL_TIMEx_MasterConfigSynchronization(&htim2, &sMasterConfig) != HAL_OK)
  {
    Error_Handler();
  }

}

static void MX_TIM3_Init(void)
{

  TIM_ClockConfigTypeDef sClockSourceConfig = {0};
  TIM_SlaveConfigTypeDef sSlaveConfig = {0};
  TIM_MasterConfigTypeDef sMasterConfig = {0};
  TIM_OC_InitTypeDef sConfigOC = {0};

  htim3.Instance = TIM3;
  htim3.Init.Prescaler = 95;
  htim3.Init.CounterMode = TIM_COUNTERMODE_UP;
  htim3.Init.Period = 9999;
  htim3.Init.ClockDivision = TIM_CLOCKDIVISION_DIV1;
  htim3.Init.AutoReloadPreload = TIM_AUTORELOAD_PRELOAD_DISABLE;
  if (HAL_TIM_Base_Init(&htim3) != HAL_OK)
  {
    Error_Handler();
  }
  sClockSourceConfig.ClockSource = TIM_CLOCKSOURCE_INTERNAL;
  if (HAL_TIM_ConfigClockSource(&htim3, &sClockSourceConfig) != HAL_OK)
  {
    Error_Handler();
  }
  if (HAL_TIM_PWM_Init(&htim3) != HAL_OK)
  {
    Error_Handler();
  }
  sSlaveConfig.SlaveMode = TIM_SLAVEMODE_DISABLE;
  sSlaveConfig.InputTrigger = TIM_TS_ITR0;
  if (HAL_TIM_SlaveConfigSynchro(&htim3, &sSlaveConfig) != HAL_OK)
  {
    Error_Handler();
  }
  sMasterConfig.MasterOutputTrigger = TIM_TRGO_RESET;
  sMasterConfig.MasterSlaveMode = TIM_MASTERSLAVEMODE_DISABLE;
  if (HAL_TIMEx_MasterConfigSynchronization(&htim3, &sMasterConfig) != HAL_OK)
  {
    Error_Handler();
  }
  sConfigOC.OCMode = TIM_OCMODE_PWM1;
  sConfigOC.Pulse = 0;
  sConfigOC.OCPolarity = TIM_OCPOLARITY_HIGH;
  sConfigOC.OCFastMode = TIM_OCFAST_DISABLE;
  if (HAL_TIM_PWM_ConfigChannel(&htim3, &sConfigOC, TIM_CHANNEL_1) != HAL_OK)
  {
    Error_Handler();
  }
  if (HAL_TIM_PWM_ConfigChannel(&htim3, &sConfigOC, TIM_CHANNEL_2) != HAL_OK)
  {
    Error_Handler();
  }
  if (HAL_TIM_PWM_ConfigChannel(&htim3, &sConfigOC, TIM_CHANNEL_3) != HAL_OK)
  {
    Error_Handler();
  }
  if (HAL_TIM_PWM_ConfigChannel(&htim3, &sConfigOC, TIM_CHANNEL_4) != HAL_OK)
  {
    Error_Handler();
  }
  HAL_TIM_MspPostInit(&htim3);

}

static void MX_TIM4_Init(void)
{

  TIM_ClockConfigTypeDef sClockSourceConfig = {0};
  TIM_MasterConfigTypeDef sMasterConfig = {0};

  htim4.Instance = TIM4;
  htim4.Init.Prescaler = 191;
  htim4.Init.CounterMode = TIM_COUNTERMODE_UP;
  htim4.Init.Period = 49999;
  htim4.Init.ClockDivision = TIM_CLOCKDIVISION_DIV1;
  htim4.Init.AutoReloadPreload = TIM_AUTORELOAD_PRELOAD_DISABLE;
  if (HAL_TIM_Base_Init(&htim4) != HAL_OK)
  {
    Error_Handler();
  }
  sClockSourceConfig.ClockSource = TIM_CLOCKSOURCE_INTERNAL;
  if (HAL_TIM_ConfigClockSource(&htim4, &sClockSourceConfig) != HAL_OK)
  {
    Error_Handler();
  }
  sMasterConfig.MasterOutputTrigger = TIM_TRGO_RESET;
  sMasterConfig.MasterSlaveMode = TIM_MASTERSLAVEMODE_DISABLE;
  if (HAL_TIMEx_MasterConfigSynchronization(&htim4, &sMasterConfig) != HAL_OK)
  {
    Error_Handler();
  }

}

static void MX_USART1_Init(void)
{

  husart1.Instance = USART1;
  husart1.Init.BaudRate = 115200;
  husart1.Init.WordLength = USART_WORDLENGTH_8B;
  husart1.Init.StopBits = USART_STOPBITS_1;
  husart1.Init.Parity = USART_PARITY_NONE;
  husart1.Init.Mode = USART_MODE_TX_RX;
  husart1.Init.CLKPolarity = USART_POLARITY_LOW;
  husart1.Init.CLKPhase = USART_PHASE_1EDGE;
  husart1.Init.CLKLastBit = USART_LASTBIT_DISABLE;
  if (HAL_USART_Init(&husart1) != HAL_OK)
  {
    Error_Handler();
  }

}

static void MX_DMA_Init(void)
{

  /* DMA controller clock enable */
  __HAL_RCC_DMA2_CLK_ENABLE();
  __HAL_RCC_DMA1_CLK_ENABLE();

  /* DMA interrupt init */
  /* DMA1_Stream0_IRQn interrupt configuration */
  HAL_NVIC_SetPriority(DMA1_Stream0_IRQn, 0, 0);
  HAL_NVIC_EnableIRQ(DMA1_Stream0_IRQn);
  /* DMA1_Stream6_IRQn interrupt configuration */
  HAL_NVIC_SetPriority(DMA1_Stream6_IRQn, 0, 0);
  HAL_NVIC_EnableIRQ(DMA1_Stream6_IRQn);
  /* DMA2_Stream0_IRQn interrupt configuration */
  HAL_NVIC_SetPriority(DMA2_Stream0_IRQn, 0, 0);
  HAL_NVIC_EnableIRQ(DMA2_Stream0_IRQn);

}

static void MX_GPIO_Init(void)
{
  GPIO_InitTypeDef GPIO_InitStruct = {0};

  /* GPIO Ports Clock Enable */
  __HAL_RCC_GPIOC_CLK_ENABLE();
  __HAL_RCC_GPIOH_CLK_ENABLE();
  __HAL_RCC_GPIOA_CLK_ENABLE();
  __HAL_RCC_GPIOB_CLK_ENABLE();

  /*Configure GPIO pin Output Level */
  HAL_GPIO_WritePin(LED_GPIO_Port, LED_Pin, GPIO_PIN_RESET);

  /*Configure GPIO pin : LED_Pin */
  GPIO_InitStruct.Pin = LED_Pin;
  GPIO_InitStruct.Mode = GPIO_MODE_OUTPUT_PP;
  GPIO_InitStruct.Pull = GPIO_NOPULL;
  GPIO_InitStruct.Speed = GPIO_SPEED_FREQ_LOW;
  HAL_GPIO_Init(LED_GPIO_Port, &GPIO_InitStruct);

  /*Configure GPIO pin : SW0_Pin */
  GPIO_InitStruct.Pin = SW0_Pin;
  GPIO_InitStruct.Mode = GPIO_MODE_INPUT;
  GPIO_InitStruct.Pull = GPIO_NOPULL;
  HAL_GPIO_Init(SW0_GPIO_Port, &GPIO_InitStruct);

}

void Error_Handler(void)
{
  __disable_irq();
  while (1)
  {
  }
}
